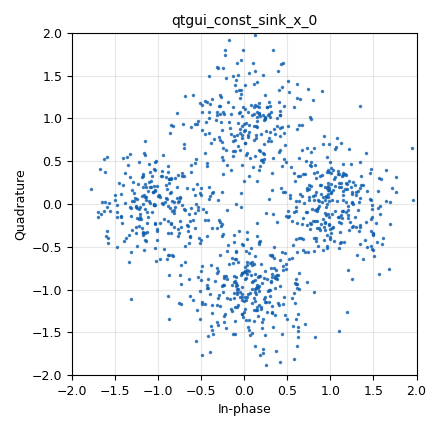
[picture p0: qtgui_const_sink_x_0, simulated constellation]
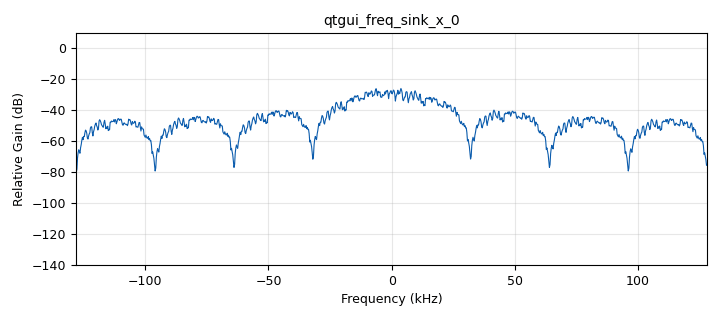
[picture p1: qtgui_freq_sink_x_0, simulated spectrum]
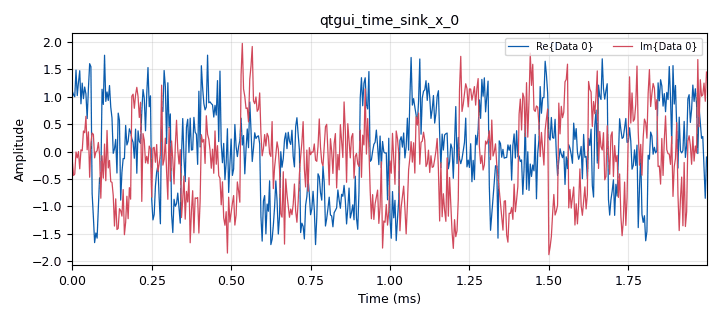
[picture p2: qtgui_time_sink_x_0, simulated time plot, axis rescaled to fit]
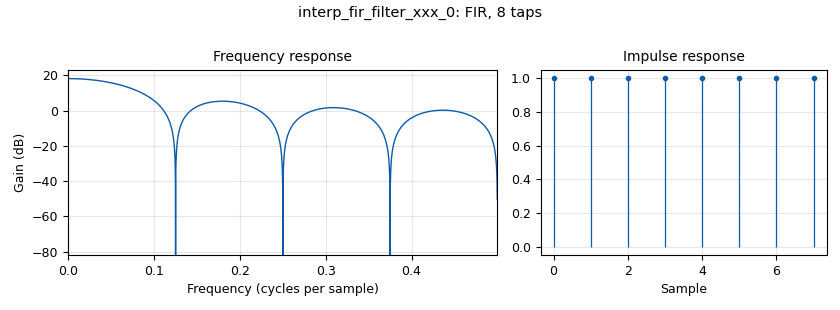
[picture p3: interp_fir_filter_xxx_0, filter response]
options:
  parameters:
    author: radiogis_director
    generate_options: qt_gui
    id: top_block
    output_language: python
    title: top_block
  states: {}

blocks:
- name: A_noise
  id: variable_qtgui_range
  parameters:
    start: '0'
    step: '0.01'
    stop: '1'
    value: '0.5'
  states: {}
- name: M
  id: variable
  parameters:
    value: len(tabla_de_verdad_constelacion )
  states: {}
- name: Rb
  id: variable
  parameters:
    value: Rs*bps
  states: {}
- name: Rs
  id: variable
  parameters:
    value: '32000'
  states: {}
- name: Sps
  id: variable
  parameters:
    value: '8'
  states: {}
- name: bps
  id: variable
  parameters:
    value: int(math.log(M,2))
  states: {}
- name: h
  id: variable
  parameters:
    value: '[1]*Sps'
  states: {}
- name: samp_rate
  id: variable
  parameters:
    value: Rs*Sps
  states: {}
- name: tabla_de_verdad_constelacion
  id: variable
  parameters:
    value: (1,-1,1j,-1j)
  states: {}
- name: analog_noise_source_x_0
  id: analog_noise_source_x
  parameters:
    amp: A_noise
    noise_type: analog.GR_GAUSSIAN
    seed: '0'
    type: complex
  states: {}
- name: analog_random_source_x_0
  id: analog_random_source_x
  parameters:
    max: '2'
    min: '0'
    num_samps: '1000'
    repeat: 'True'
    type: byte
  states: {}
- name: blocks_add_xx_0
  id: blocks_add_xx
  parameters:
    type: complex
  states: {}
- name: blocks_pack_k_bits_bb_0
  id: blocks_pack_k_bits_bb
  parameters:
    k: '8'
  states: {}
- name: blocks_packed_to_unpacked_xx_0
  id: blocks_packed_to_unpacked_xx
  parameters:
    bits_per_chunk: bps
    endianness: gr.GR_MSB_FIRST
    type: byte
  states: {}
- name: digital_chunks_to_symbols_xx_0
  id: digital_chunks_to_symbols_xx
  parameters:
    dimension: '1'
    in_type: byte
    out_type: complex
    symbol_table: tabla_de_verdad_constelacion
  states: {}
- name: epy_block_0
  id: epy_block
  parameters:
    _source_code: |
      """
      Embedded Python Blocks:

      Each time this file is saved, GRC will instantiate the first class it finds
      to get ports and parameters of your block. The arguments to __init__  will
      be the parameters. All of them are required to have default values!
      """

      import numpy as np
      from gnuradio import gr


      class blk(gr.sync_block):  # other base classes are basic_block, decim_block, interp_block
          """Embedded Python Block example - a simple multiply const"""

          def __init__(self, example_param=1.0):  # only default arguments here
              """arguments to this function show up as parameters in GRC"""
              gr.sync_block.__init__(
                  self,
                  name='Embedded Python Block',   # will show up in GRC
                  in_sig=[np.complex64],
                  out_sig=[np.complex64]
              )
              # if an attribute with the same name as a parameter is found,
              # a callback is registered (properties work, too).
              self.example_param = example_param

          def work(self, input_items, output_items):
              """example: multiply with constant"""
              output_items[0][:] = input_items[0] * self.example_param
              return len(output_items[0])
    example_param: ''
  states: {}
- name: import_0
  id: import
  parameters:
    imports: import math
  states: {}
- name: interp_fir_filter_xxx_0
  id: interp_fir_filter_xxx
  parameters:
    interp: Sps
    taps: h
    type: ccf
  states: {}
- name: qtgui_const_sink_x_0
  id: qtgui_const_sink_x
  parameters:
    size: '1024'
    type: complex
  states: {}
- name: qtgui_freq_sink_x_0
  id: qtgui_freq_sink_x
  parameters:
    average: '0.05'
    bw: samp_rate
    fc: '0'
    fftsize: '1024'
    type: complex
  states: {}
- name: qtgui_time_sink_x_0
  id: qtgui_time_sink_x
  parameters:
    size: '512'
    srate: samp_rate
    type: complex
  states: {}
- name: virtual_sink_0
  id: virtual_sink
  parameters:
    stream_id: p1
  states: {}
- name: virtual_sink_1
  id: virtual_sink
  parameters:
    stream_id: p0
  states: {}
- name: virtual_source_0
  id: virtual_source
  parameters:
    stream_id: p1
  states: {}
- name: virtual_source_0_0
  id: virtual_source
  parameters:
    stream_id: p0
  states: {}

connections:
- [analog_noise_source_x_0, '0', blocks_add_xx_0, '0']
- [analog_random_source_x_0, '0', blocks_pack_k_bits_bb_0, '0']
- [blocks_add_xx_0, '0', virtual_sink_0, '0']
- [blocks_pack_k_bits_bb_0, '0', blocks_packed_to_unpacked_xx_0, '0']
- [blocks_packed_to_unpacked_xx_0, '0', digital_chunks_to_symbols_xx_0, '0']
- [digital_chunks_to_symbols_xx_0, '0', interp_fir_filter_xxx_0, '0']
- [interp_fir_filter_xxx_0, '0', blocks_add_xx_0, '1']
- [interp_fir_filter_xxx_0, '0', virtual_sink_1, '0']
- [virtual_source_0, '0', qtgui_const_sink_x_0, '0']
- [virtual_source_0, '0', qtgui_time_sink_x_0, '0']
- [virtual_source_0_0, '0', qtgui_freq_sink_x_0, '0']

metadata:
  file_format: 1
